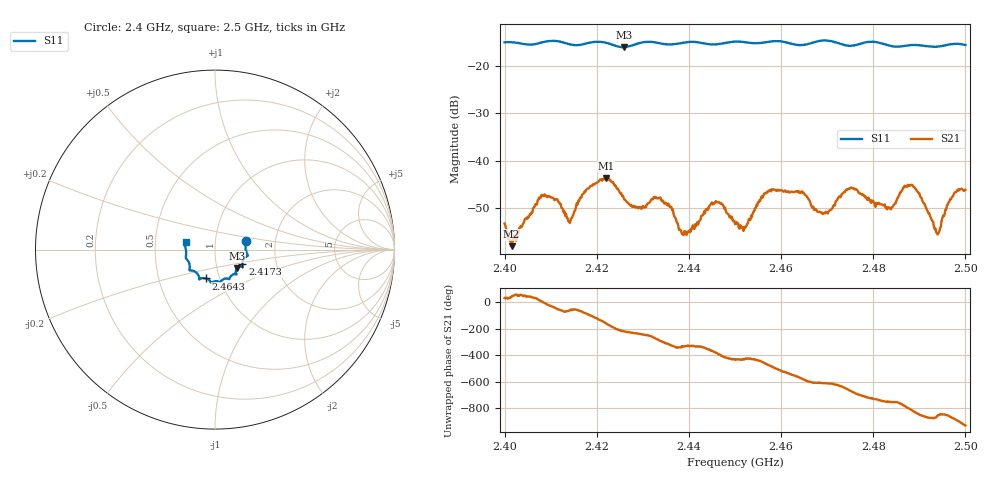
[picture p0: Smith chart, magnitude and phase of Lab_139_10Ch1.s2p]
# Hz S RI R 50
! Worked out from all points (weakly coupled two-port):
!   601 points, 2.4 GHz to 2.5 GHz, reference 50 ohm
!   highest |S21| = -43.70 dB at 2.422 GHz (marker M1); lowest = -58.2 dB at 2.4015 GHz (marker M2)
!   lowest |S11| = -15.9 dB at 2.4258 GHz (marker M3), VSWR 1.38, Z = 62.3 - j13.2 ohm
!   |S11| at or under -10 dB: start of sweep to end of sweep
!   S12 and S22 are empty: the file has one direction only
!   S11 on the Smith chart (normalised r, x): 2.4 GHz: 1.41, +0.14; 2.4173 GHz: 1.34, -0.23; 2.4643 GHz: 0.86, -0.28; 2.5 GHz: 0.72, +0.06
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2.4e9  0.173 0.0496  0.00181 0.00115  0 0  0 0
2.4015e9  0.1752 0.0439  0.00095 0.000789  0 0  0 0
2.407833e9  0.1772 -0.0193  0.00398 0.000677  0 0  0 0
2.414e9  0.1655 -0.0467  0.00104 -0.00202  0 0  0 0
2.416667e9  0.1529 -0.0747  0.00151 -0.00376  0 0  0 0
2.417333e9  0.1524 -0.0821  0.000791 -0.00461  0 0  0 0
2.422e9  0.1513 -0.0942  -0.00612 -0.00229  0 0  0 0
2.425833e9  0.1217 -0.1036  -0.00312 0.00253  0 0  0 0
2.433333e9  0.1126 -0.1367  0.000862 0.00391  0 0  0 0
2.439e9  0.0812 -0.1595  0.0016 0.000781  0 0  0 0
2.445333e9  0.0528 -0.1626  0.00343 -0.000757  0 0  0 0
2.45e9  0.0297 -0.1809  0.000516 -0.00205  0 0  0 0
2.452333e9  0.0212 -0.1788  0.000852 -0.00179  0 0  0 0
2.457667e9  -0.0169 -0.1827  -0.00257 -0.00416  0 0  0 0
2.464333e9  -0.0503 -0.1605  -0.00378 0.0027  0 0  0 0
2.466667e9  -0.0763 -0.1599  -0.00129 0.00295  0 0  0 0
2.469833e9  -0.0878 -0.1665  -0.000808 0.0027  0 0  0 0
2.475167e9  -0.1084 -0.1251  0.00348 0.00383  0 0  0 0
2.483333e9  -0.1408 -0.0895  0.00265 -0.00167  0 0  0 0
2.4885e9  -0.1616 -0.0484  -0.000999 -0.00542  0 0  0 0
2.494e9  -0.1619 -0.0013  -0.00117 -0.00115  0 0  0 0
2.5e9  -0.1635 0.0419  -0.00411 0.00264  0 0  0 0
